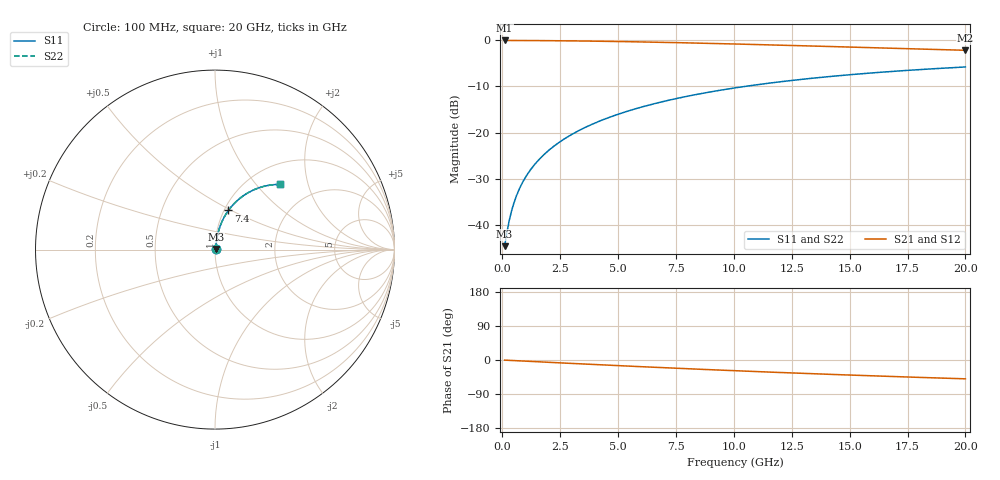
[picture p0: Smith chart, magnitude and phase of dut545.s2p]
! Touchstone file exported from HFSS 2024.1.0
!  File:  C:/UserFiles/LocalFiles/RDL_TSV_Batchsim/temp_RDL_top_545_1779680714.aedt
!  Generated:  11:47:38 AM May 25, 2026
!  Design:  RDL_top
!  Project:  temp_RDL_top_545_1779680714
!  Setup:  Setup1
!  Solution:  Sweep
! Variables:
!  dtsv = 10.80580581um
!  hbump = 3um
!  htsv = 91.96um
!  ldown = 100um
!  lrdl = 643.54um
!  p = 40
!  p1 = 56.54um
!  rhole = 1um
!  t = 450um
!  tdown = 3.915915916um
!  trdl = 3.2um
!  wdown = 15.38538539um
!  wrdl = 15um
# GHz S MA R 50.000000
! Terminal data exported
! Port[1] = Box2_T1
! Port[2] = Box2_T2
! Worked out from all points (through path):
!   200 points, 100 MHz to 20 GHz, reference 50 ohm
!   highest |S21| = -0.04 dB at 100 MHz (marker M1); lowest = -2.2 dB at 20 GHz (marker M2)
!   group delay of S21, straight-line fit = 6.9 ps
!   lowest |S11| = -44.6 dB at 100 MHz (marker M3), VSWR 1.01, Z = 50.5 + j0.336 ohm
!   |S11| at or under -10 dB: start of sweep to 10.48 GHz
!   |S22| runs from -44.6 to -5.8 dB; largest |S21 - S12| = 3.1e-15
!   S11 on the Smith chart (normalised r, x): 100 MHz: 1.01, +0.01; 7.4 GHz: 1.05, +0.48; 20 GHz: 1.37, +1.35
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0.1  0.00588 34.5  0.9952 -0.3  0.9952 -0.3  0.00588 34.5
! Gamma 0 0 0 0
! Port Impedance 50 0 50 0
0.2  0.008287 53.2  0.995 -0.6  0.995 -0.6  0.008287 53.2
0.3  0.01115 62.6  0.9949 -0.9  0.9949 -0.9  0.01115 62.6
0.4  0.01416 67.8  0.9947 -1.2  0.9947 -1.2  0.01416 67.8
0.5  0.01722 71.1  0.9945 -1.5  0.9945 -1.5  0.01722 71.1
0.6  0.0203 73.4  0.9943 -1.9  0.9943 -1.9  0.0203 73.4
0.8  0.02649 76.2  0.9938 -2.5  0.9938 -2.5  0.02649 76.2
1.1  0.03582 78.4  0.9931 -3.4  0.9931 -3.4  0.03582 78.4
1.5  0.04832 79.8  0.9918 -4.6  0.9918 -4.6  0.04832 79.8
1.8  0.05773 80.2  0.9908 -5.5  0.9908 -5.5  0.05773 80.1
2.1  0.06716 80.2  0.9895 -6.4  0.9895 -6.4  0.06716 80.2
2.7  0.08603 79.9  0.9865 -8.2  0.9865 -8.2  0.08603 79.9
3.5  0.1112 78.9  0.9815 -10.5  0.9815 -10.5  0.1112 78.9
4.2  0.133 77.7  0.9762 -12.6  0.9762 -12.6  0.133 77.7
5  0.1579 76.2  0.9693 -14.8  0.9693 -14.8  0.1578 76.2
6.8  0.2125 72.4  0.9509 -19.9  0.9509 -19.9  0.2125 72.4
7.4  0.2303 71.1  0.9441 -21.5  0.9441 -21.5  0.2302 71.1
8.7  0.2677 68.2  0.9284 -24.9  0.9284 -24.9  0.2676 68.2
10.1  0.3061 65.1  0.9105 -28.4  0.9105 -28.4  0.306 65.0
13.4  0.3881 57.9  0.866 -36.2  0.866 -36.2  0.3879 57.8
16.7  0.4571 51.1  0.8212 -43.3  0.8212 -43.3  0.4569 51.1
20  0.5136 45.0  0.7785 -49.7  0.7785 -49.7  0.5134 45.0
